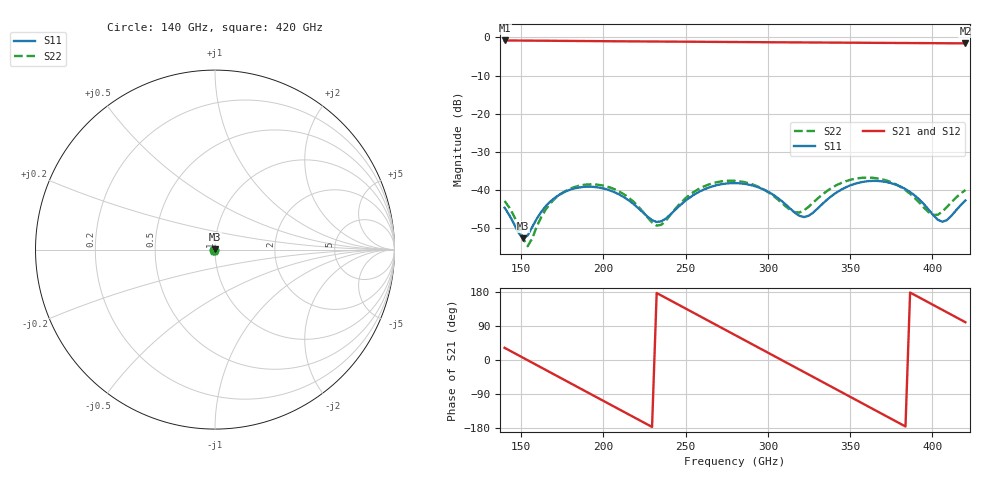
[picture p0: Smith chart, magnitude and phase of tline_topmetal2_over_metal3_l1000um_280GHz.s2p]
#  GHZ S DB R 50
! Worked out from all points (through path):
!   101 points, 140 GHz to 420 GHz, reference 50 ohm
!   highest |S21| = -0.79 dB at 140 GHz (marker M1); lowest = -1.6 dB at 420 GHz (marker M2)
!   group delay of S21, straight-line fit = 6.47 ps
!   lowest |S11| = -52.8 dB at 151.2 GHz (marker M3), VSWR 1.00, Z = 50 + j0.229 ohm
!   |S11| at or under -10 dB: start of sweep to end of sweep
!   |S22| runs from -54.8 to -36.8 dB; largest |S21 - S12| = 1.5e-12
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140  -44.70 176.9  -0.79 32.1  -0.79 32.1  -42.91 -175.3
151.2  -52.77 84.1  -0.83 6.0  -0.83 6.0  -52.79 116.3
154  -51.95 45.9  -0.83 -0.6  -0.83 -0.6  -54.78 70.5
168  -42.98 -40.8  -0.88 -33.2  -0.88 -33.2  -43.46 -42.4
187.6  -39.24 -107.6  -0.94 -78.9  -0.94 -78.9  -38.72 -106.4
201.6  -39.81 -154.0  -0.99 -111.5  -0.99 -111.5  -39.06 -150.0
215.6  -42.81 154.0  -1.03 -144.1  -1.03 -144.1  -42.11 161.9
235.2  -48.27 26.4  -1.08 170.3  -1.08 170.3  -49.18 28.7
246.4  -44.14 -47.2  -1.11 144.2  -1.11 144.2  -43.68 -47.6
260.4  -40.04 -104.3  -1.15 111.6  -1.15 111.6  -39.23 -100.9
280  -38.23 -170.5  -1.20 65.9  -1.20 65.9  -37.64 -164.0
294  -39.31 142.2  -1.24 33.3  -1.24 33.3  -39.15 148.9
305.2  -41.87 99.2  -1.27 7.2  -1.27 7.2  -42.23 102.8
316.4  -46.01 37.8  -1.30 -18.8  -1.30 -18.8  -45.89 29.9
327.6  -45.93 -52.9  -1.33 -44.9  -1.33 -44.9  -43.31 -53.4
350  -38.84 -155.8  -1.38 -97.1  -1.38 -97.1  -37.38 -143.4
361.2  -37.70 167.8  -1.41 -123.2  -1.41 -123.2  -36.79 -178.9
375.2  -38.28 123.6  -1.45 -155.9  -1.45 -155.9  -38.04 136.5
386.4  -40.57 85.5  -1.47 178.0  -1.47 178.0  -41.03 95.1
400.4  -46.60 15.6  -1.51 145.4  -1.51 145.4  -46.59 6.0
408.8  -47.93 -61.4  -1.53 125.8  -1.53 125.8  -44.50 -63.5
420  -42.79 -132.6  -1.55 99.7  -1.55 99.7  -40.04 -117.3
